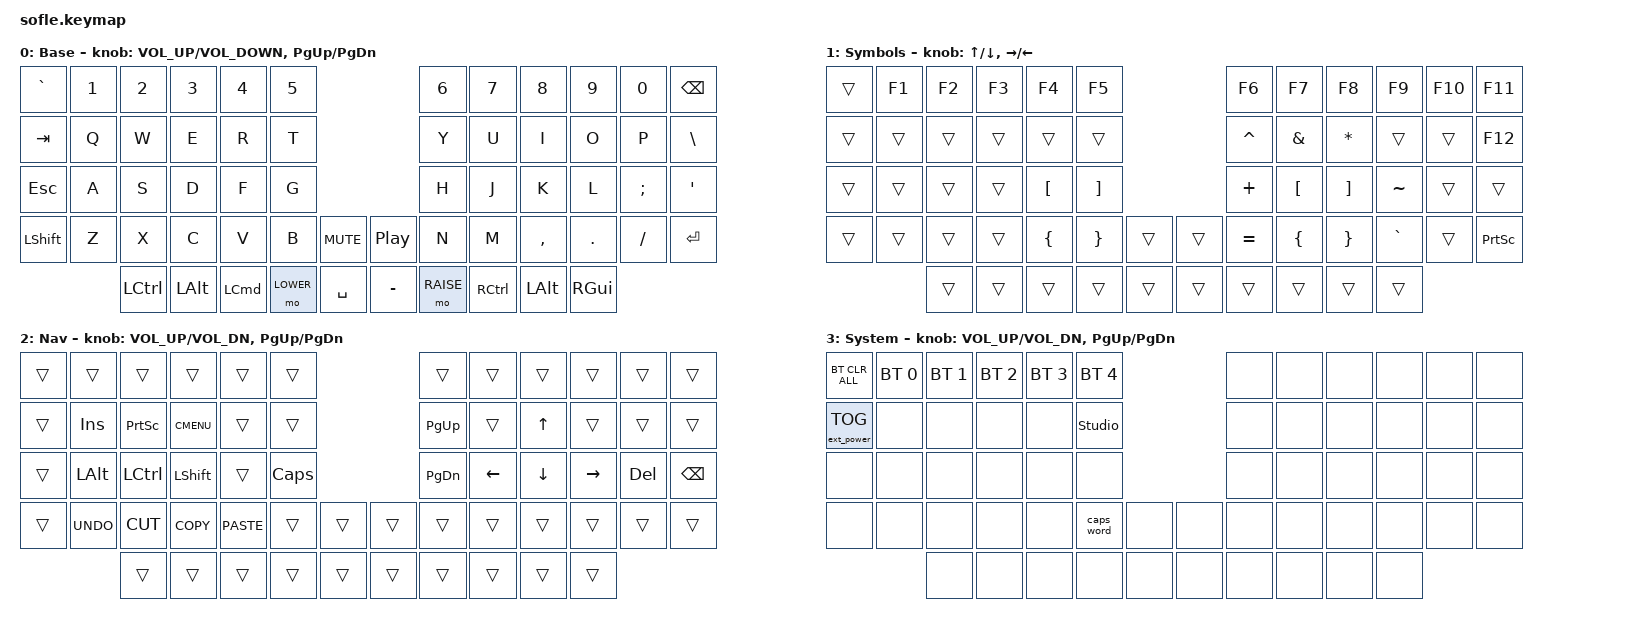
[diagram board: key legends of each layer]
/*
 * Copyright (c) 2020 The ZMK Contributors
 *
 * SPDX-License-Identifier: MIT
 */

#include <behaviors.dtsi>
#include <dt-bindings/zmk/bt.h>
#include <dt-bindings/zmk/ext_power.h>
#include <dt-bindings/zmk/keys.h>

// Encoders

&sensors { triggers-per-rotation = <30>; };

&left_encoder { steps = <60>; };

&right_encoder { steps = <60>; };

#define BASE 0
#define LOWER 1
#define RAISE 2
#define ADJUST 3

/ {
    // Activate ADJUST layer by pressing raise and lower

    conditional_layers {
        compatible = "zmk,conditional-layers";

        adjust_layer {
            if-layers = <LOWER RAISE>;
            then-layer = <ADJUST>;
        };
    };

    combos {
        compatible = "zmk,combos";

        backspace {
            bindings = <&kp BACKSPACE>;
            key-positions = <32 31>;
        };

        delete {
            bindings = <&kp DELETE>;
            key-positions = <27 33>;
        };

        esc {
            bindings = <&kp ESCAPE>;
            key-positions = <25 41>;
        };
    };

    behaviors {
        caps: caps {
            compatible = "zmk,behavior-caps-word";
            label = "CAPS";
            #binding-cells = <0>;
            continue-list = <POUND MINUS BACKSPACE UNDERSCORE>;
        };
    };

    keymap {
        compatible = "zmk,keymap";

        default_layer {
            display-name = "Base";

            // ------------------------------------------------------------------------------------------------------------
            // |   `   |  1  |  2  |  3   |  4   |  5   |                   |  6   |  7    |  8    |  9   |   0   |       |
            // |  ESC  |  Q  |  W  |  E   |  R   |  T   |                   |  Y   |  U    |  I    |  O   |   P   | BKSPC |
            // |  TAB  |  A  |  S  |  D   |  F   |  G   |                   |  H   |  J    |  K    |  L   |   ;   |   '   |
            // | SHIFT |  Z  |  X  |  C   |  V   |  B   |  MUTE  |  |       |  N   |  M    |  ,    |  .   |   /   | SHIFT |
            //               | GUI | ALT  | CTRL | LOWER|  ENTER |  | SPACE | RAISE| CTRL  | ALT   | GUI  |

            bindings = <
&kp GRAVE       &kp N1  &kp N2     &kp N3    &kp N4    &kp N5                                     &kp N6     &kp N7     &kp N8     &kp N9    &kp N0    &kp BACKSPACE
&kp TAB         &kp Q   &kp W      &kp E     &kp R     &kp T                                      &kp Y      &kp U      &kp I      &kp O     &kp P     &kp BSLH
&kp ESC         &kp A   &kp S      &kp D     &kp F     &kp G                                      &kp H      &kp J      &kp K      &kp L     &kp SEMI  &kp SQT
&kp LEFT_SHIFT  &kp Z   &kp X      &kp C     &kp V     &kp B      &kp C_MUTE    &kp C_PLAY_PAUSE  &kp N      &kp M      &kp COMMA  &kp DOT   &kp FSLH  &kp ENTER
                        &kp LCTRL  &kp LALT  &kp LCMD  &mo LOWER  &kp SPACE     &kp MINUS         &mo RAISE  &kp RCTRL  &kp LALT   &kp RGUI
            >;

            sensor-bindings =
                <&inc_dec_kp C_VOLUME_UP C_VOLUME_DOWN>,
                <&inc_dec_kp PAGE_UP PAGE_DOWN>;
        };

        lower_layer {
            display-name = "Symbols";

            // TODO: Some binds are waiting for shifted keycode support.
            // ------------------------------------------------------------------------------------------------------------
            // |       |  F1 |  F2 |  F3  |  F4  |  F5  |                   |  F6  |  F7   |  F8   |  F9  |  F10  |  F11  |
            // |   `   |  1  |  2  |  3   |  4   |  5   |                   |  6   |  7    |  8    |  9   |   0   |  F12  |
            // |       |  !  |  @  |  #   |  $   |  %   |                   |  ^   |  &    |  *    |  (   |   )   |   |   |
            // |       |  =  |  -  |  +   |  {   |  }   |        |  |       |  [   |  ]    |  ;    |  :   |   \   |       |
            //               |     |      |      |      |        |  |       |      |       |       |      |

            bindings = <
&trans  &kp F1  &kp F2  &kp F3  &kp F4            &kp F5                               &kp F6     &kp F7            &kp F8             &kp F9     &kp F10  &kp F11
&trans  &trans  &trans  &trans  &trans            &trans                               &kp CARET  &kp AMPERSAND     &kp ASTRK          &trans     &trans   &kp F12
&trans  &trans  &trans  &trans  &kp LEFT_BRACKET  &kp RIGHT_BRACKET                    &kp PLUS   &kp LEFT_BRACKET  &kp RIGHT_BRACKET  &kp TILDE  &trans   &trans
&trans  &trans  &trans  &trans  &kp LBRC          &kp RBRC           &trans    &trans  &kp EQUAL  &kp LEFT_BRACE    &kp RIGHT_BRACE    &kp GRAVE  &trans   &kp PRINTSCREEN
                &trans  &trans  &trans            &trans             &trans    &trans  &trans     &trans            &trans             &trans
            >;

            sensor-bindings =
                <&inc_dec_kp UP_ARROW DOWN_ARROW>,
                <&inc_dec_kp RIGHT_ARROW LEFT_ARROW>;
        };

        raise_layer {
            display-name = "Nav";

            // ------------------------------------------------------------------------------------------------------------
            // | BTCLR | BT1  | BT2  |  BT3  |  BT4  |  BT5 |                |      |      |       |      |       |       |
            // |       | INS  | PSCR | GUI   |       |      |                | PGUP |      |   ^   |      |       |       |
            // |       | ALT  | CTRL | SHIFT |       | CAPS |                | PGDN |   <- |   v   |  ->  |  DEL  | BKSPC |
            // |       | UNDO | CUT  | COPY  | PASTE |      |      |  |      |      |      |       |      |       |       |
            //                |      |       |       |      |      |  |      |      |      |       |      |

            bindings = <
&trans  &trans      &trans     &trans       &trans       &trans                      &trans     &trans    &trans    &trans     &trans   &trans
&trans  &kp INS     &kp PSCRN  &kp K_CMENU  &trans       &trans                      &kp PG_UP  &trans    &kp UP    &trans     &trans   &trans
&trans  &kp LALT    &kp LCTRL  &kp LSHFT    &trans       &kp CLCK                    &kp PG_DN  &kp LEFT  &kp DOWN  &kp RIGHT  &kp DEL  &kp BSPC
&trans  &kp K_UNDO  &kp K_CUT  &kp K_COPY   &kp K_PASTE  &trans    &trans    &trans  &trans     &trans    &trans    &trans     &trans   &trans
                    &trans     &trans       &trans       &trans    &trans    &trans  &trans     &trans    &trans    &trans
            >;

            sensor-bindings = <&inc_dec_kp C_VOL_UP C_VOL_DN &inc_dec_kp PG_UP PG_DN>;
        };

        adjust_layer {
            // ----------------------------------------------------------------------------------------------------------------------------
            // | BTCLR  |  BT1    |  BT2    |   BT3   |   BT4   |   BT5   |                  |      |      |       |      |       |       |
            // | EXTPWR | RGB_HUD | RGB_HUI | RGB_SAD | RGB_SAI | RGB_EFF |                  |      |      |       |      |       |       |
            // |        | RGB_BRD | RGB_BRI |         |         |         |                  |      |      |       |      |       |       |
            // |        |         |         |         |         |         | RGB_TOG | |      |      |      |       |      |       |       |
            //                    |         |         |         |         |         | |      |      |      |       |      |

            display-name = "System";
            bindings = <
&bt BT_CLR_ALL     &bt BT_SEL 0  &bt BT_SEL 1  &bt BT_SEL 2  &bt BT_SEL 3  &bt BT_SEL 4                    &none  &none  &none  &none  &none  &none
&ext_power EP_TOG  &none         &none         &none         &none         &studio_unlock                  &none  &none  &none  &none  &none  &none
&none              &none         &none         &none         &none         &none                           &none  &none  &none  &none  &none  &none
&none              &none         &none         &none         &none         &caps_word      &none    &none  &none  &none  &none  &none  &none  &none
                                 &none         &none         &none         &none           &none    &none  &none  &none  &none  &none
            >;

            sensor-bindings = <&inc_dec_kp C_VOL_UP C_VOL_DN &inc_dec_kp PG_UP PG_DN>;
        };
    };
};
